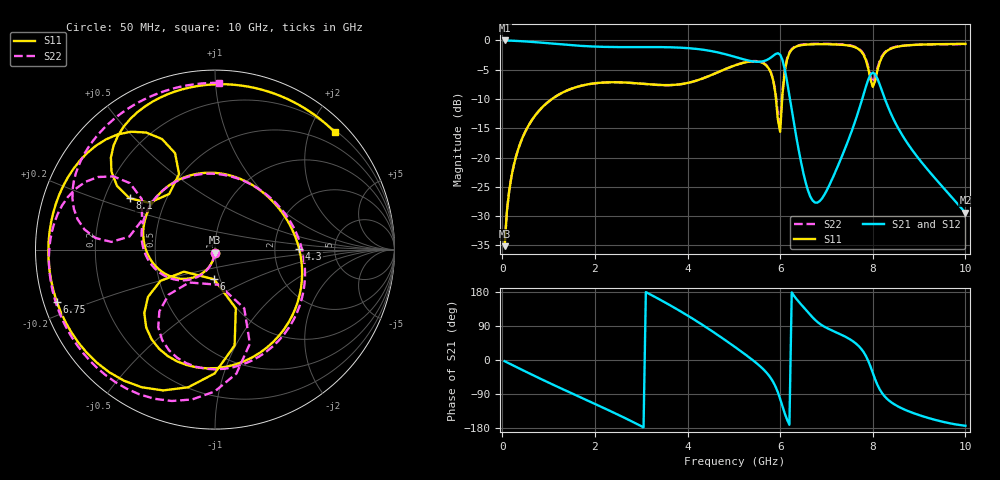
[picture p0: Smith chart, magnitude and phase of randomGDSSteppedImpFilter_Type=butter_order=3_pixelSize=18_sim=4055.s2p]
! freq	dB(S11)	phase(S11)	dB(S12)	phase(S12)
!  dB(S21)	phase(S21)	dB(S22)	phase(S22)
!S-par simulation data
#  GHz  S  DB  R 50
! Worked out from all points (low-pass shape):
!   200 points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, 50 MHz to 10 GHz, reference 50 ohm
!   highest |S21| = 0.00 dB at 50 MHz (marker M1); lowest = -29.4 dB at 10 GHz (marker M2)
!   |S21| within 3 dB of the highest: start of sweep to 5.109 GHz; 5.784 GHz to 6.032 GHz (248.4 MHz wide, 4.2 % of centre)
!   lowest |S11| = -35.1 dB at 50 MHz (marker M3), VSWR 1.04, Z = 49.9 - j1.75 ohm
!   |S11| at or under -10 dB: start of sweep to 1.073 GHz; 5.91 GHz to 6.044 GHz (133.5 MHz wide, 2.23 % of centre)
!   |S22| runs from -35.1 to -0.6 dB; largest |S21 - S12| = 0
!   S11 on the Smith chart (normalised r, x): 50 MHz: 1.00, -0.03; 4.3 GHz: 2.77, +0.02; 6 GHz: 0.94, -0.32; 6.75 GHz: 0.04, -0.16; 8.1 GHz: 0.31, +0.25; 10 GHz: 0.24, +2.42
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0.05  -35.12 -93.0  -0.00 -3.1  -0.00 -3.1  -35.12 -92.9
0.2  -23.14 -102.9  -0.04 -12.3  -0.04 -12.3  -23.14 -102.2
0.5  -15.51 -121.8  -0.17 -30.4  -0.17 -30.4  -15.51 -120.1
1.75  -7.65 164.5  -0.95 -101.9  -0.95 -101.9  -7.65 170.6
2.7  -7.21 108.7  -1.14 -156.2  -1.14 -156.2  -7.21 118.1
3.4  -7.60 64.2  -1.14 159.7  -1.14 159.7  -7.61 74.4
4.3  -6.57 0.3  -1.55 94.5  -1.55 94.5  -6.58 8.0
5.05  -4.19 -62.1  -2.87 32.1  -2.87 32.1  -4.17 -55.0
5.45  -3.56 -98.7  -3.62 -4.4  -3.62 -4.4  -3.52 -89.9
5.75  -4.75 -131.4  -3.18 -39.8  -3.18 -39.8  -4.67 -120.3
6  -15.61 -91.6  -2.43 -102.8  -2.43 -102.8  -14.09 -83.7
6.1  -5.26 -78.5  -4.94 -141.2  -4.94 -141.2  -5.05 -69.7
6.25  -1.56 -110.2  -11.86 178.3  -11.86 178.3  -1.47 -98.7
6.7  -0.66 -157.9  -27.32 112.6  -27.32 112.6  -0.60 -141.9
6.75  -0.65 -161.7  -27.67 106.4  -27.67 106.4  -0.59 -145.2
7.25  -0.70 164.0  -21.37 70.9  -21.37 70.9  -0.64 -174.7
7.7  -1.51 130.3  -11.87 36.3  -11.87 36.3  -1.43 156.5
7.95  -6.63 115.4  -5.85 -17.0  -5.85 -17.0  -6.10 145.4
8.1  -5.12 149.0  -6.52 -65.4  -6.52 -65.4  -4.75 175.7
8.35  -1.56 130.2  -11.72 -107.0  -11.72 -107.0  -1.49 160.4
9.05  -0.71 88.4  -20.76 -147.4  -20.76 -147.4  -0.71 125.7
10  -0.59 44.5  -29.41 -173.5  -29.41 -173.5  -0.64 88.6
